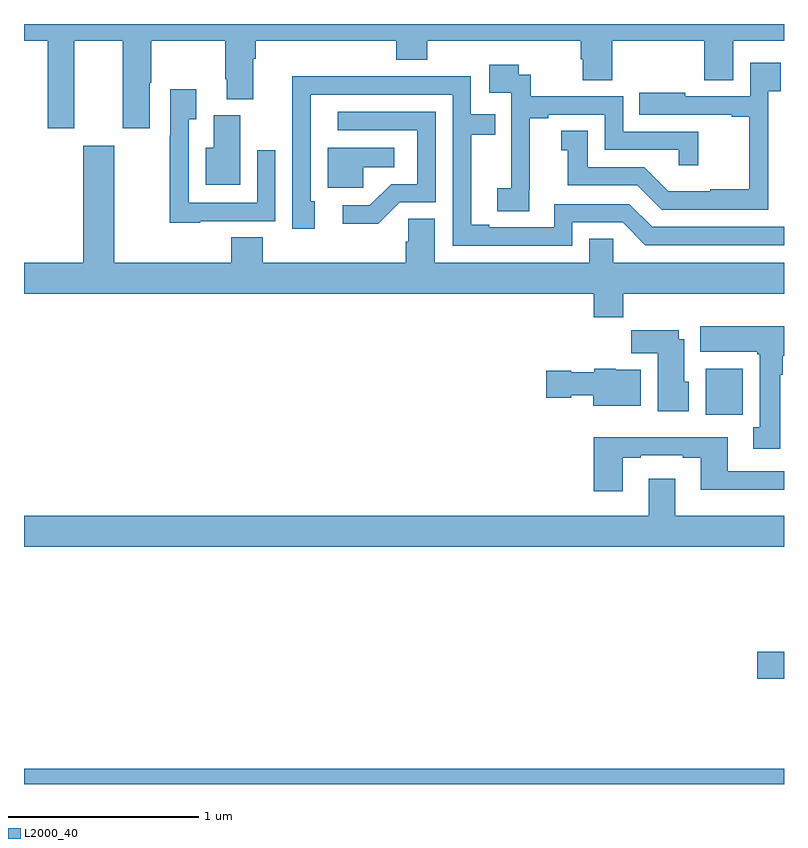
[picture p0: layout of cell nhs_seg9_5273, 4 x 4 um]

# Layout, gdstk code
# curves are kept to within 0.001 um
import gdstk
lib = gdstk.Library(unit=1e-6, precision=1e-09)
def R(c, l, rs):  # rectangles x0, y0, x1, y1
    for r in rs: c.add(gdstk.rectangle(r[:2], r[2:], *l))
def P(c, l, *ps):  # polygons
    for p in ps: c.add(gdstk.Polygon(p, *l))
L2000_40 = (2000, 40)

nhs_seg9_5273 = lib.new_cell('nhs_seg9_5273')
R(nhs_seg9_5273, L2000_40, [(417,1200.5,421,1200.58), (420.858,1201.054,421,1201.196), (420.587,1202.444,420.784,1202.686)])
P(nhs_seg9_5273, L2000_40, [(417.265,1204.412),(417.521,1204.412),(417.521,1203.951),(417.661,1203.951),(417.661,1204.19),(417.669,1204.19),(417.669,1204.412),(418.06,1204.412),(418.06,1204.21),(418.067,1204.21),(418.067,1204.105),(418.207,1204.105),(418.207,1204.316),(418.22,1204.316),(418.22,1204.412),(418.958,1204.412),(418.958,1204.313),(419.123,1204.313),(419.123,1204.412),(419.93,1204.412),(419.93,1204.314),(419.942,1204.314),(419.942,1204.204),(420.095,1204.204),(420.095,1204.412),(420.581,1204.412),(420.581,1204.204),(420.733,1204.204),(420.733,1204.412),(421,1204.412),(421,1204.5),(417,1204.5),(417,1204.412),(417.125,1204.412),(417.125,1203.951),(417.265,1203.951)],
  [(420.918,1204.145),(420.983,1204.145),(420.983,1204.297),(420.822,1204.297),(420.822,1204.119),(420.481,1204.119),(420.481,1204.138),(420.238,1204.138),(420.238,1204.023),(420.725,1204.023),(420.725,1204.011),(420.817,1204.011),(420.817,1203.631),(420.611,1203.631),(420.611,1203.619),(420.392,1203.619),(420.264,1203.747),(419.968,1203.747),(419.968,1203.938),(419.828,1203.938),(419.828,1203.835),(419.861,1203.835),(419.861,1203.651),(420.228,1203.651),(420.357,1203.522),(420.918,1203.522)],
  [(419.66,1203.625),(419.662,1203.625),(419.662,1204.003),(419.758,1204.003),(419.758,1204.023),(420.057,1204.023),(420.057,1203.837),(420.447,1203.837),(420.447,1203.756),(420.548,1203.756),(420.548,1203.933),(420.153,1203.933),(420.153,1204.119),(419.666,1204.119),(419.666,1204.233),(419.604,1204.233),(419.604,1204.285),(419.448,1204.285),(419.448,1204.137),(419.565,1204.137),(419.565,1203.833),(419.564,1203.833),(419.564,1203.636),(419.49,1203.636),(419.49,1203.514),(419.66,1203.514)],
  [(419.886,1203.456),(420.15,1203.456),(420.27,1203.336),(421,1203.336),(421,1203.432),(420.306,1203.432),(420.186,1203.552),(419.79,1203.552),(419.79,1203.429),(419.449,1203.429),(419.449,1203.444),(419.353,1203.444),(419.353,1203.918),(419.48,1203.918),(419.48,1204.026),(419.352,1204.026),(419.352,1204.224),(418.874,1204.224),(418.874,1204.226),(418.412,1204.226),(418.413,1203.423),(418.531,1203.423),(418.531,1203.567),(418.509,1203.567),(418.509,1204.128),(419.256,1204.128),(419.256,1203.333),(419.886,1203.333)],
  [(417.927,1203.462),(418.323,1203.462),(418.323,1203.835),(418.227,1203.835),(418.227,1203.558),(417.867,1203.558),(417.867,1204),(417.907,1204),(417.907,1204.156),(417.771,1204.156),(417.771,1203.911),(417.766,1203.911),(417.766,1203.455),(417.927,1203.455)],
  [(418.977,1203.561),(419.166,1203.561),(419.166,1204.038),(418.65,1204.038),(418.65,1203.942),(419.07,1203.942),(419.07,1203.657),(418.932,1203.657),(418.821,1203.546),(418.677,1203.546),(418.677,1203.449),(418.864,1203.449)],
  [(418.138,1204.02),(417.998,1204.02),(417.998,1203.85),(417.956,1203.85),(417.956,1203.653),(418.138,1203.653)],
  [(420.155,1203.08),(421,1203.08),(421,1203.244),(420.102,1203.244),(420.102,1203.371),(419.975,1203.371),(419.975,1203.244),(419.161,1203.244),(419.161,1203.476),(419.022,1203.476),(419.022,1203.353),(419.009,1203.353),(419.009,1203.244),(418.256,1203.244),(418.256,1203.377),(418.091,1203.377),(418.091,1203.244),(417.475,1203.244),(417.475,1203.859),(417.311,1203.859),(417.311,1203.244),(417,1203.244),(417,1203.08),(419.999,1203.08),(419.999,1202.956),(420.155,1202.956)],
  [(418.785,1203.746),(418.948,1203.746),(418.948,1203.85),(418.598,1203.85),(418.598,1203.639),(418.785,1203.639)],
  [(420.979,1202.654),(420.994,1202.654),(420.994,1202.754),(421,1202.754),(421,1202.908),(420.56,1202.908),(420.56,1202.774),(420.859,1202.774),(420.859,1202.761),(420.872,1202.761),(420.872,1202.378),(420.839,1202.378),(420.839,1202.265),(420.979,1202.265)],
  [(420.499,1202.616),(420.475,1202.616),(420.475,1202.842),(420.445,1202.842),(420.445,1202.887),(420.196,1202.887),(420.196,1202.768),(420.335,1202.768),(420.335,1202.462),(420.499,1202.462)],
  [(420.247,1202.68),(420.114,1202.68),(420.114,1202.686),(420,1202.686),(420,1202.668),(419.88,1202.668),(419.88,1202.676),(419.748,1202.676),(419.748,1202.534),(419.88,1202.534),(419.88,1202.546),(419.996,1202.546),(419.996,1202.492),(420.247,1202.492)],
  [(420.151,1202.217),(420.247,1202.217),(420.247,1202.229),(420.467,1202.229),(420.467,1202.217),(420.563,1202.217),(420.563,1202.048),(421,1202.048),(421,1202.145),(420.703,1202.145),(420.703,1202.326),(419.999,1202.326),(419.999,1202.04),(420.151,1202.04)],
  [(421,1201.912),(420.427,1201.912),(420.427,1202.107),(420.287,1202.107),(420.287,1201.912),(417,1201.912),(417,1201.748),(421,1201.748)])

lib.write_gds('nhs_seg9_5273.gds')
